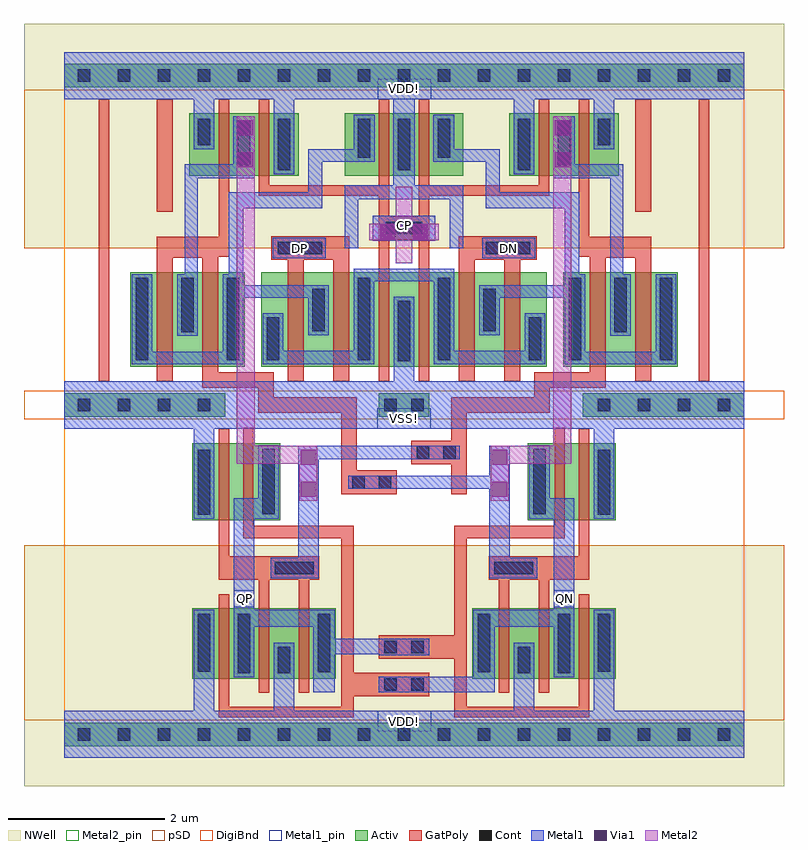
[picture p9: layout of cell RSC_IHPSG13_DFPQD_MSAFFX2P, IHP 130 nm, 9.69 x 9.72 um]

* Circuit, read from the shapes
.subckt RSC_IHPSG13_DFPQD_MSAFFX2P CP DN DP QN QP VDD! VSS!
XM1 n1 n2 n3 VSS! sg13_lv_nmos w=1.2u l=0.2u m=2
XM2 n4 n1 VSS! VSS! sg13_lv_nmos w=0.98u l=0.13u
XM3 QP QN n4 VSS! sg13_lv_nmos w=0.98u l=0.13u
XM4 n3 DP n5 VSS! sg13_lv_nmos w=1.2u l=0.2u m=2
XM5 VSS! CP n5 VSS! sg13_lv_nmos w=1.2u l=0.13u m=2
XM6 n6 DN n5 VSS! sg13_lv_nmos w=1.2u l=0.2u m=2
XM7 n7 QP QN VSS! sg13_lv_nmos w=0.98u l=0.13u
XM8 VSS! n2 n7 VSS! sg13_lv_nmos w=0.98u l=0.13u
XM9 n2 n1 n6 VSS! sg13_lv_nmos w=1.2u l=0.2u m=2
XM10 QP QN VDD! VDD! sg13_lv_pmos w=0.9u l=0.13u
XM11 n1 n2 VDD! VDD! sg13_lv_pmos w=0.8u l=0.13u
XM12 VDD! n1 QP VDD! sg13_lv_pmos w=0.9u l=0.13u m=2
XM13 VDD! CP n1 VDD! sg13_lv_pmos w=0.8u l=0.13u
XM14 VDD! CP n3 VDD! sg13_lv_pmos w=0.8u l=0.13u
XM15 n6 CP VDD! VDD! sg13_lv_pmos w=0.8u l=0.13u
XM16 VDD! n2 QN VDD! sg13_lv_pmos w=0.9u l=0.13u m=2
XM17 n2 CP VDD! VDD! sg13_lv_pmos w=0.8u l=0.13u
XM18 VDD! QP QN VDD! sg13_lv_pmos w=0.9u l=0.13u
XM19 VDD! n1 n2 VDD! sg13_lv_pmos w=0.8u l=0.13u
.ends

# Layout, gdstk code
from math import pi, radians
import gdstk
lib = gdstk.Library(unit=1e-6, precision=1e-09)
def R(c, l, rs):  # rectangles x0, y0, x1, y1
    for r in rs: c.add(gdstk.rectangle(r[:2], r[2:], *l))
def A(c, l, x, y, w, h, nx, ny, dx, dy):  # array of equal rectangles
    R(c, l, [(x+i*dx, y+j*dy, x+i*dx+w, y+j*dy+h) for i in range(nx) for j in range(ny)])
def P(c, l, *ps):  # polygons
    for p in ps: c.add(gdstk.Polygon(p, *l))
Activ = (1, 0)
GatPoly = (5, 0)
Cont = (6, 0)
Metal1 = (8, 0)
Metal1_pin = (8, 2)
Metal2 = (10, 0)
Metal2_pin = (10, 2)
pSD = (14, 0)
DigiBnd = (16, 0)
Via1 = (19, 0)
NWell = (31, 0)

rsc_ihpsg13_dfpqd_msaffx = lib.new_cell('RSC_IHPSG13_DFPQD_MSAFFX2P_half')
R(rsc_ihpsg13_dfpqd_msaffx, Activ, [(0,-0.15,4.335,0.15), (1.635,0.71,3.465,1.61), (1.635,2.73,2.755,3.71), (0,4.05,2.055,4.35), (4.015,4.05,4.335,4.35), (0.845,4.69,2.305,5.89), (2.515,4.69,4.335,5.89), (1.6,7.12,2.99,7.92), (3.58,7.12,4.335,7.92), (0,8.25,4.59,8.55)])
R(rsc_ihpsg13_dfpqd_msaffx, GatPoly, [(4.015,0.485,4.335,0.785), (4.015,0.965,4.335,1.265), (1.975,1.97,2.105,3.9), (1.975,1.97,2.285,2.27), (2.285,2.5,3.695,2.66), (2.285,2.53,2.415,3.91), (0.445,4.5,0.575,8.1), (1.185,6.665,1.385,8.1)])
P(rsc_ihpsg13_dfpqd_msaffx, GatPoly, [(2.485,0.53),(2.485,1.97),(2.285,1.97),(2.285,2.27),(3.255,2.27),(3.255,1.97),(3.125,1.97),(3.125,0.53),(2.995,0.53),(2.995,1.97),(2.615,1.97),(2.615,0.53)],
  [(2.855,4.5),(2.855,6.05),(2.64,6.05),(2.64,6.35),(3.635,6.35),(3.635,4.5),(3.435,4.5),(3.435,6.05),(3.055,6.05),(3.055,4.5)],
  [(1.975,0.22),(1.975,1.79),(2.105,1.79),(2.105,0.35),(3.535,0.35),(3.535,2.66),(3.695,2.66),(3.695,0.22)],
  [(3.535,3.065),(3.535,4.1),(2.475,4.1),(2.475,4.42),(1.765,4.42),(1.765,6.08),(1.385,6.08),(1.385,4.5),(1.185,4.5),(1.185,6.345),(1.975,6.345),(1.975,8.1),(2.105,8.1),(2.105,6.09),(1.965,6.09),(1.965,4.62),(2.675,4.62),(2.675,4.3),(3.735,4.3),(3.735,3.065)],
  [(4.015,4.5),(4.015,6.87),(2.485,6.87),(2.485,8.1),(2.615,8.1),(2.615,7),(4.015,7),(4.015,8.1),(4.145,8.1),(4.145,6.605),(4.335,6.605),(4.335,6.305),(4.145,6.305),(4.145,4.5)])
A(rsc_ihpsg13_dfpqd_msaffx, Cont, 0.175, -0.08, 0.16, 0.16, 9, 1, 0.51, 0)
A(rsc_ihpsg13_dfpqd_msaffx, Cont, 1.195, 8.32, 0.16, 0.16, 7, 1, 0.51, 0)
R(rsc_ihpsg13_dfpqd_msaffx, Cont, [(4.085,0.555,4.245,0.715), (2.215,0.78,2.375,1.54), (2.725,0.78,2.885,1.12), (3.235,0.79,3.395,1.54), (1.705,0.8,1.865,1.54), (4.085,1.035,4.245,1.195), (2.685,2.04,3.185,2.2), (1.705,2.8,1.865,3.63), (2.525,2.81,2.685,3.64), (0.175,4.12,0.335,4.28), (0.175,4.12,0.335,4.28), (0.685,4.12,0.845,4.28), (0.685,4.12,0.845,4.28), (1.195,4.12,1.355,4.28), (1.195,4.12,1.355,4.28), (1.705,4.12,1.865,4.28), (1.705,4.12,1.865,4.28), (4.085,4.12,4.245,4.28), (4.255,4.76,4.415,5.53), (0.915,4.77,1.075,5.82), (2.075,4.77,2.235,5.82), (2.585,4.77,2.745,5.32), (3.745,4.77,3.905,5.82), (1.495,5.13,1.655,5.82), (3.165,5.14,3.325,5.68), (2.725,6.12,3.29,6.28), (4.105,6.375,4.335,6.535), (2.725,7.19,2.885,7.85), (4.255,7.19,4.415,7.85), (2.215,7.255,2.375,7.83), (3.745,7.35,3.905,7.85), (1.705,7.51,1.865,7.85), (0.175,8.32,0.335,8.48), (0.175,8.32,0.335,8.48), (0.685,8.32,0.845,8.48), (0.685,8.32,0.845,8.48), (1.195,8.32,1.355,8.48)])
R(rsc_ihpsg13_dfpqd_msaffx, Metal1, [(4.015,0.535,4.335,0.735), (4.015,1.01,4.335,1.22), (1.655,2.75,1.915,3.9), (2.66,6.07,3.34,6.33), (3.935,6.295,4.335,6.615)])
P(rsc_ihpsg13_dfpqd_msaffx, Metal1, [(1.445,5.08),(1.445,5.87),(1.54,5.87),(1.54,7.27),(2.155,7.27),(2.155,7.88),(2.43,7.88),(2.43,7.09),(1.705,7.09),(1.705,5.08)],
  [(2.635,1.99),(2.635,2.25),(2.985,2.25),(2.985,3.68),(3.245,3.68),(3.245,1.99)],
  [(0,-0.3),(0,0.3),(1.655,0.3),(1.655,1.59),(1.915,1.59),(1.915,0.3),(2.675,0.3),(2.675,1.17),(2.935,1.17),(2.935,0.3),(4.59,0.3),(4.59,-0.3)],
  [(3.175,0.535),(3.175,1.37),(2.425,1.37),(2.425,0.73),(2.165,0.73),(2.165,3.01),(2.475,3.01),(2.475,3.69),(2.735,3.69),(2.735,2.75),(2.425,2.75),(2.425,1.59),(3.455,1.59),(3.455,0.535)],
  [(0.865,4.72),(0.865,5.87),(1.125,5.87),(1.125,4.88),(2.025,4.88),(2.025,5.87),(2.1,5.87),(2.1,6.91),(3.115,6.91),(3.115,7.46),(3.695,7.46),(3.695,7.9),(3.965,7.9),(3.965,7.3),(3.29,7.3),(3.29,6.71),(2.285,6.71),(2.285,5.73),(3.375,5.73),(3.375,5.09),(3.115,5.09),(3.115,5.57),(2.285,5.57),(2.285,4.72)],
  [(3.58,6.2),(3.58,7.005),(4.195,7.005),(4.195,8.1),(2.935,8.1),(2.935,7.14),(2.675,7.14),(2.675,8.1),(1.915,8.1),(1.915,7.46),(1.655,7.46),(1.655,8.1),(0,8.1),(0,8.7),(4.59,8.7),(4.59,8.1),(4.475,8.1),(4.475,6.825),(3.75,6.825),(3.75,6.2)],
  [(2.535,4.72),(2.535,5.37),(2.795,5.37),(2.795,4.89),(3.695,4.89),(3.695,5.94),(4.335,5.94),(4.335,5.78),(3.955,5.78),(3.955,4.72)],
  [(0,3.9),(0,4.5),(4.205,4.5),(4.205,5.58),(4.465,5.58),(4.465,3.9)])
R(rsc_ihpsg13_dfpqd_msaffx, Metal2, [(3,2.98,3.23,3.68), (2.2,3.45,3.23,3.68), (2.2,3.45,2.43,7.88)])
R(rsc_ihpsg13_dfpqd_msaffx, pSD, [(-0.51,0.18,5.1,2.415), (-0.51,4.02,5.1,4.38), (-0.51,6.2,5.1,8.22)])
R(rsc_ihpsg13_dfpqd_msaffx, DigiBnd, [(0,-0.3,4.335,8.7)])
R(rsc_ihpsg13_dfpqd_msaffx, Via1, [(3.02,3.03,3.21,3.22), (3.02,3.44,3.21,3.63), (2.22,7.23,2.41,7.42), (2.22,7.64,2.41,7.83)])
R(rsc_ihpsg13_dfpqd_msaffx, NWell, [(-0.51,-0.66,5.1,2.415), (-0.51,6.2,5.1,9.06)])

c_rsc_ihpsg13_dfpqd_msaffx = lib.new_cell('RSC_IHPSG13_DFPQD_MSAFFX2P')
R(c_rsc_ihpsg13_dfpqd_msaffx, GatPoly, [(3.535,0.485,4.015,0.785), (4.655,0.965,5.135,1.265), (3.605,3.065,4.245,3.365), (4.425,3.445,5.065,3.745)])
R(c_rsc_ihpsg13_dfpqd_msaffx, Cont, [(3.675,3.135,3.835,3.295), (4.015,3.135,4.175,3.295), (4.495,3.515,4.655,3.675), (4.835,3.515,4.995,3.675)])
R(c_rsc_ihpsg13_dfpqd_msaffx, Metal1, [(4.655,0.535,5.215,0.735), (3.455,1.02,4.015,1.22), (3.625,3.13,5.425,3.3), (3.245,3.51,5.045,3.68)])
R(c_rsc_ihpsg13_dfpqd_msaffx, Metal1_pin, [(4,0.04,4.68,0.3), (2.165,1.62,2.425,1.84), (6.245,1.62,6.505,1.84), (3.995,3.9,4.675,4.16), (2.66,6.07,3.34,6.33), (5.33,6.07,6.01,6.33), (4,8.1,4.68,8.36)])
R(c_rsc_ihpsg13_dfpqd_msaffx, Metal2, [(4.23,6.01,4.44,6.98), (3.895,6.3,4.775,6.51)])
R(c_rsc_ihpsg13_dfpqd_msaffx, Metal2_pin, [(4.23,6.01,4.44,6.98)])
R(c_rsc_ihpsg13_dfpqd_msaffx, Via1, [(4.035,6.31,4.225,6.5), (4.445,6.31,4.635,6.5)])
c_rsc_ihpsg13_dfpqd_msaffx.add(gdstk.Reference(rsc_ihpsg13_dfpqd_msaffx, (8.67,0), rotation=pi, x_reflection=True))
c_rsc_ihpsg13_dfpqd_msaffx.add(gdstk.Reference(rsc_ihpsg13_dfpqd_msaffx, (0,0)))
c_rsc_ihpsg13_dfpqd_msaffx.add(gdstk.Label('CP', (4.335,6.495), layer=10, texttype=25))
c_rsc_ihpsg13_dfpqd_msaffx.add(gdstk.Label('DP', (3,6.2), layer=8, texttype=25))
c_rsc_ihpsg13_dfpqd_msaffx.add(gdstk.Label('DN', (5.67,6.2), layer=8, texttype=25))
c_rsc_ihpsg13_dfpqd_msaffx.add(gdstk.Label('QN', (6.375,1.735), layer=8, texttype=25))
c_rsc_ihpsg13_dfpqd_msaffx.add(gdstk.Label('QP', (2.295,1.73), layer=8, texttype=25))
c_rsc_ihpsg13_dfpqd_msaffx.add(gdstk.Label('VDD!', (4.34,8.23), layer=8, texttype=25))
c_rsc_ihpsg13_dfpqd_msaffx.add(gdstk.Label('VDD!', (4.34,0.17), layer=8, texttype=25))
c_rsc_ihpsg13_dfpqd_msaffx.add(gdstk.Label('VSS!', (4.335,4.03), layer=8, texttype=25))

lib.write_gds('RSC_IHPSG13_DFPQD_MSAFFX2P.gds')
